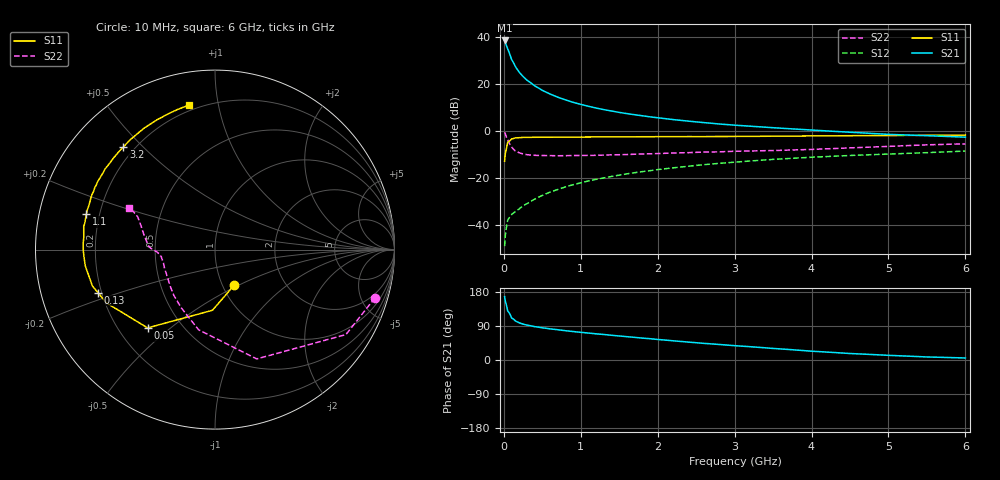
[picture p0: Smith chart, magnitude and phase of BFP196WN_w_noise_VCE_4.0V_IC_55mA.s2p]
! Infineon Technologies  Discrete & RF Semiconductors
! BFP196WN
! VCE =  4.0 V,  IC =  55 mA
! Common Emitter S-Parameters:  Jan 2017
# GHz  S  MA  R  50
!  f  S11  S21  S12  S22
! GHz  MAG  ANG  MAG  ANG  MAG  ANG  MAG  ANG
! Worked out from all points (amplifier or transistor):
!   77 points, 10 MHz to 6 GHz, reference 50 ohm
!   highest |S21| = 38.6 dB at 10 MHz (marker M1)
!   |S21| within 3 dB of that: start of sweep to 42.59 MHz
!   unconditionally stable (mu >= 1): 590.3 MHz to 2.709 GHz
!   at 130 MHz: K = 0.58, MSG = 31.8 dB, |S12| = -34.8 dB
!   at 2.2 GHz: K = 1.02, MAG = 9.4 dB, |S12| = -15.7 dB
!   at 6 GHz: K = 0.92, MSG = 3.0 dB, |S12| = -8.6 dB
!   lowest NFmin = 1.34 dB at 450 MHz
!   S11 on the Smith chart (normalised r, x): 10 MHz: 1.13, -0.48; 50 MHz: 0.32, -0.42; 130 MHz: 0.19, -0.17; 1.1 GHz: 0.15, +0.13; 3.2 GHz: 0.16, +0.44; 6 GHz: 0.17, +0.82
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0.01  0.2258 -61.9  84.97 167.2  0.0035 82.2  0.9309 -16.8
0.02  0.3382 -92.4  77.18 154.3  0.0061 71.3  0.8694 -33.0
0.05  0.5754 -130.7  56.06 129.2  0.0125 51.7  0.6519 -69.1
0.1  0.6739 -153.8  33.57 111.2  0.0164 49.8  0.4559 -101.6
0.13  0.6946 -159.8  27.49 107.0  0.0181 50.2  0.4019 -111.9
0.15  0.7123 -163.5  23.55 103.0  0.0192 50.5  0.3747 -120.2
0.2  0.7198 -169.1  17.93 98.1  0.0218 55.2  0.3428 -132.1
0.25  0.7279 -172.7  14.47 94.7  0.0255 57.6  0.3238 -139.9
0.3  0.7301 -175.6  12.12 92.1  0.0281 58.8  0.3117 -146.2
0.4  0.7338 -179.6  9.165 88.0  0.0352 64.0  0.3025 -153.7
0.5  0.7351 177.3  7.342 85.0  0.0423 66.2  0.3 -159.1
0.6  0.7343 174.6  6.137 82.2  0.0498 67.4  0.2982 -162.9
0.7  0.738 172.3  5.256 79.9  0.0566 68.8  0.2962 -165.6
0.9  0.7403 168.2  4.085 75.1  0.0714 69.0  0.2993 -169.2
1.1  0.7435 164.4  3.356 71.1  0.0859 69.0  0.3015 -172.1
1.5  0.7486 157.7  2.486 63.4  0.1143 67.2  0.3115 -175.8
2.1  0.7553 148.1  1.83 52.5  0.1567 63.2  0.3343 -178.9
3.1  0.7652 133.2  1.296 36.5  0.2224 54.9  0.3719 176.4
3.2  0.7665 131.8  1.264 35.1  0.2287 54.0  0.3744 175.7
4.1  0.7847 118.9  1.024 22.1  0.28 46.2  0.4102 166.8
5.1  0.8013 108.1  0.835 11.5  0.3263 38.6  0.4763 156.5
6  0.8176 100.3  0.737 5.3  0.3726 32.6  0.5305 154.2
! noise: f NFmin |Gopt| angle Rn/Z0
0.45  1.34  0.54  -177  0.05
0.9  1.44  0.57  -170  0.06
1.9  2.36  0.69  -147  0.17
2.4  3.11  0.7  -140  0.29
